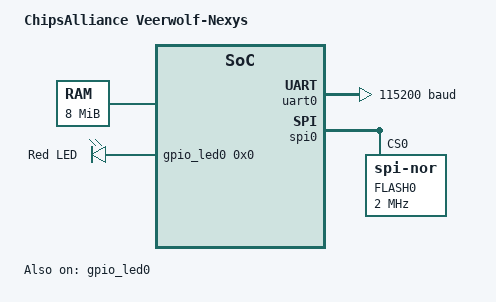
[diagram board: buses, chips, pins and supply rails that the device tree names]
/dts-v1/;

/ {
	#address-cells = < 0x1 >;
	#size-cells = < 0x1 >;
	compatible = "ChipsAlliance,Veerwolf-Nexys";
	model = "ChipsAlliance Veerwolf-Nexys";
	cpus {
		#address-cells = < 0x1 >;
		#size-cells = < 0x0 >;
		cpu@0 {
			clock-frequency = < 0x0 >;
			compatible = "ChipsAlliance,VeeR-EH1-v1.2", "riscv";
			device_type = "cpu";
			reg = < 0x0 >;
			riscv,isa = "rv32imac";
			status = "okay";
			timebase-frequency = < 0x8000 >;
		};
	};
	soc {
		#address-cells = < 0x1 >;
		#size-cells = < 0x1 >;
		compatible = "ChipsAlliance,VeeRwolf-soc", "simple-bus";
		ranges;
		pic: interrupt-controller@f00c0000 {
			#interrupt-cells = < 0x2 >;
			compatible = "swerv,pic";
			interrupt-controller;
			reg = < 0xf00c0000 0x2000 >;
			reg-names = "reg";
			riscv,max-priority = < 0xf >;
			phandle = < 0x1 >;
		};
		uart0: uart@80002000 {
			compatible = "ns16550";
			clock-frequency = < 0x2faf080 >;
			reg = < 0x80002000 0x1000 >;
			reg-names = "control";
			label = "uart0";
			interrupt-parent = < &pic >;
			interrupts = < 0xc 0xf >;
			status = "okay";
			current-speed = < 0x1c200 >;
		};
		spi0: spi@80001040 {
			compatible = "opencores,spi-simple";
			reg = < 0x80001040 0x40 >;
			reg-names = "control";
			label = "SPI0";
			status = "okay";
			#address-cells = < 0x1 >;
			#size-cells = < 0x0 >;
			flash0: flash@0 {
				compatible = "jedec,spi-nor";
				label = "FLASH0";
				jedec-id = [ 01 20 18 ];
				size = < 0x1000000 >;
				reg = < 0x0 >;
				spi-max-frequency = < 0x1e8480 >;
			};
		};
		gpio_led0: gpio@80001010 {
			compatible = "veerwolf,gpio";
			reg = < 0x80001010 0x10 >;
			gpio-controller;
			#gpio-cells = < 0x2 >;
			ngpios = < 0x20 >;
			label = "LED0";
			status = "okay";
			phandle = < 0x2 >;
		};
	};
	aliases {
		led0 = &led_0;
	};
	chosen {
		zephyr,console = &uart0;
		zephyr,shell-uart = &uart0;
		zephyr,sram = &sram;
	};
	sram: memory@0 {
		compatible = "mmio-sram";
		reg = < 0x0 0x800000 >;
	};
	leds {
		compatible = "gpio-leds";
		led_0: led {
			gpios = < &gpio_led0 0x0 0x0 >;
			label = "Red LED";
		};
	};
};
